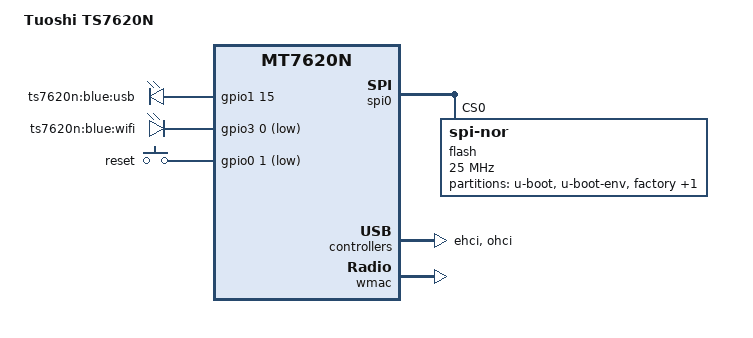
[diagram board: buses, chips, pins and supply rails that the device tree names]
// SPDX-License-Identifier: GPL-2.0-or-later OR MIT
/dts-v1/;

#include "mt7620n.dtsi"

#include <dt-bindings/gpio/gpio.h>
#include <dt-bindings/input/input.h>

/ {
	compatible = "tuoshi,ts7620n", "ralink,mt7620n-soc";
	model = "Tuoshi TS7620N";

	leds {
		compatible = "gpio-leds";

		usb {
			label = "ts7620n:blue:usb";
			gpios = <&gpio1 15 GPIO_ACTIVE_HIGH>;
			trigger-sources = <&ohci_port1>, <&ehci_port1>;
			linux,default-trigger = "usbport";
		};

		wifi {
			label = "ts7620n:blue:wifi";
			gpios = <&gpio3 0 GPIO_ACTIVE_LOW>;
			linux,default-trigger = "phy0tpt";
		};
	};

	keys {
		compatible = "gpio-keys";

		reset {
			label = "reset";
			gpios = <&gpio0 1 GPIO_ACTIVE_LOW>;
			linux,code = <KEY_RESTART>;
		};
	};
};

&gpio1 {
	status = "okay";
};

&gpio3 {
	status = "okay";
};

&spi0 {
	status = "okay";

	flash@0 {
		compatible = "jedec,spi-nor";
		reg = <0>;
		spi-max-frequency = <25000000>;

		partitions {
			compatible = "fixed-partitions";
			#address-cells = <1>;
			#size-cells = <1>;

			partition@0 {
				label = "u-boot";
				reg = <0x0 0x30000>;
				read-only;
			};

			partition@30000 {
				label = "u-boot-env";
				reg = <0x30000 0x10000>;
				read-only;
			};

			factory: partition@40000 {
				label = "factory";
				reg = <0x40000 0x10000>;
				read-only;
			};

			partition@50000 {
				compatible = "denx,uimage";
				label = "firmware";
				reg = <0x50000 0x7b0000>;
			};
		};
	};
};

&ehci {
	status = "okay";
};

&ohci {
	status = "okay";
};

&wmac {
	ralink,mtd-eeprom = <&factory 0>;
};

&ethernet {
	pinctrl-names = "default";
	pinctrl-0 = <&ephy_pins>;
	mtd-mac-address = <&factory 0x4>;
	mediatek,portmap = "llllw";
};

&state_default {
	gpio {
		ralink,group = "i2c", "spi refclk", "wled";
		ralink,function = "gpio";
	};
};
